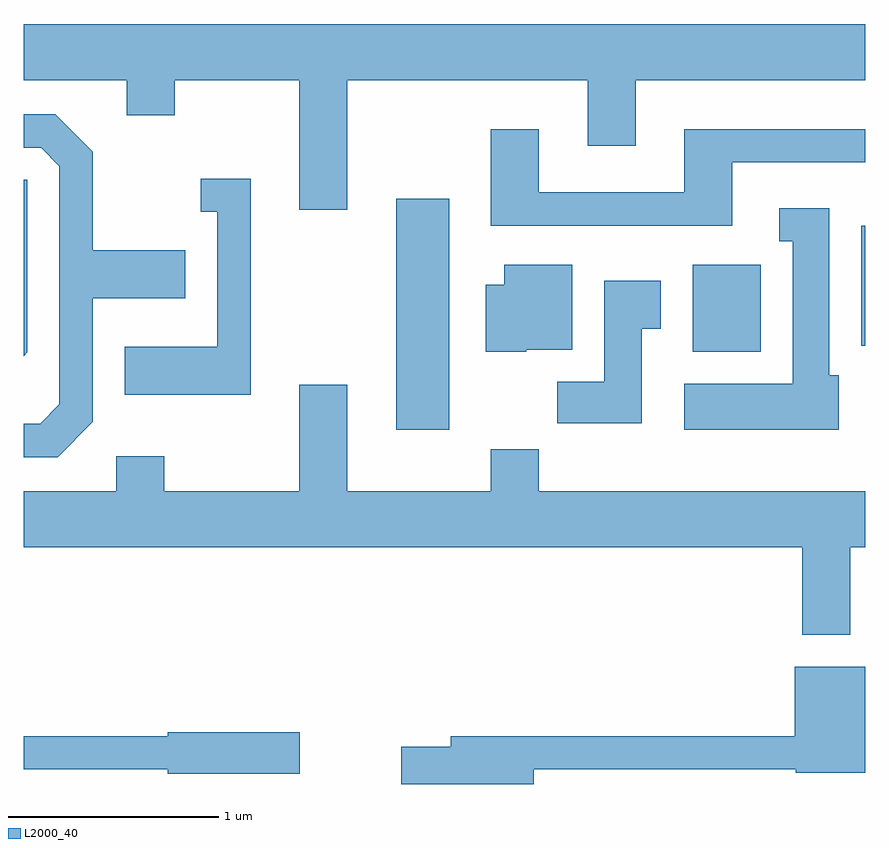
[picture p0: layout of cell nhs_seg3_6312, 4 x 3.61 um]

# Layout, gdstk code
import gdstk
lib = gdstk.Library(unit=1e-6, precision=1e-09)
def R(c, l, rs):  # rectangles x0, y0, x1, y1
    for r in rs: c.add(gdstk.rectangle(r[:2], r[2:], *l))
def P(c, l, *ps):  # polygons
    for p in ps: c.add(gdstk.Polygon(p, *l))
L2000_40 = (2000, 40)

nhs_seg3_6312 = lib.new_cell('nhs_seg3_6312')
R(nhs_seg3_6312, L2000_40, [(371.381,1237.576,371.634,1238.674), (372.791,1237.946,373.114,1238.359), (373.591,1237.976,373.611,1238.544)])
P(nhs_seg3_6312, L2000_40, [(371.149,1239.236),(372.291,1239.236),(372.291,1238.926),(372.519,1238.926),(372.519,1239.236),(373.611,1239.236),(373.611,1239.504),(369.611,1239.504),(369.611,1239.236),(370.101,1239.236),(370.101,1239.071),(370.329,1239.071),(370.329,1239.236),(370.921,1239.236),(370.921,1238.621),(371.149,1238.621)],
  [(369.939,1237.614),(369.939,1238.201),(370.379,1238.201),(370.379,1238.429),(369.939,1238.429),(369.939,1238.897),(369.762,1239.074),(369.611,1239.074),(369.611,1238.916),(369.694,1238.916),(369.781,1238.829),(369.781,1237.697),(369.689,1237.604),(369.611,1237.604),(369.611,1237.446),(369.772,1237.446)],
  [(372.979,1238.846),(373.611,1238.846),(373.611,1239.004),(372.751,1239.004),(372.751,1238.704),(372.059,1238.704),(372.059,1239.004),(371.831,1239.004),(371.831,1238.546),(372.979,1238.546)],
  [(370.689,1238.769),(370.453,1238.769),(370.453,1238.611),(370.531,1238.611),(370.531,1237.969),(370.091,1237.969),(370.091,1237.741),(370.689,1237.741)],
  [(369.629,1237.944),(369.629,1238.764),(369.611,1238.764),(369.611,1237.926)],
  [(373.484,1237.834),(373.439,1237.834),(373.439,1238.629),(373.203,1238.629),(373.203,1238.471),(373.266,1238.471),(373.266,1237.794),(372.751,1237.794),(372.751,1237.576),(373.484,1237.576)],
  [(372,1237.956),(372.219,1237.956),(372.219,1238.359),(371.896,1238.359),(371.896,1238.264),(371.806,1238.264),(371.806,1237.946),(372,1237.946)],
  [(372.549,1238.056),(372.639,1238.056),(372.639,1238.284),(372.371,1238.284),(372.371,1237.804),(372.146,1237.804),(372.146,1237.606),(372.549,1237.606)],
  [(373.539,1237.016),(373.611,1237.016),(373.611,1237.284),(372.059,1237.284),(372.059,1237.484),(371.831,1237.484),(371.831,1237.284),(371.149,1237.284),(371.149,1237.789),(370.921,1237.789),(370.921,1237.284),(370.279,1237.284),(370.279,1237.449),(370.051,1237.449),(370.051,1237.284),(369.611,1237.284),(369.611,1237.016),(373.311,1237.016),(373.311,1236.601),(373.539,1236.601)],
  [(372.034,1235.961),(373.28,1235.961),(373.28,1235.946),(373.611,1235.946),(373.611,1236.449),(373.276,1236.449),(373.276,1236.119),(371.641,1236.119),(371.641,1236.069),(371.406,1236.069),(371.406,1235.892),(372.034,1235.892)],
  [(370.924,1236.139),(370.296,1236.139),(370.296,1236.119),(369.611,1236.119),(369.611,1235.961),(370.296,1235.961),(370.296,1235.941),(370.924,1235.941)])

lib.write_gds('nhs_seg3_6312.gds')
